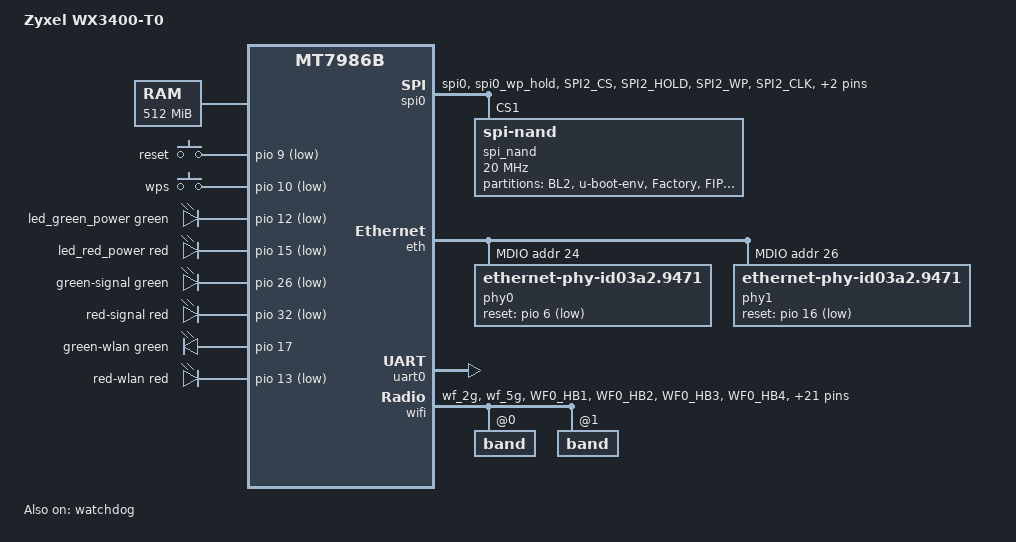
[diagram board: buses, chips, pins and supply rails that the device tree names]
// SPDX-License-Identifier: (GPL-2.0 OR MIT)

/dts-v1/;

#include <dt-bindings/gpio/gpio.h>
#include <dt-bindings/input/input.h>
#include <dt-bindings/leds/common.h>
#include <dt-bindings/pinctrl/mt65xx.h>

#include "mt7986b.dtsi"

/ {
	model = "Zyxel WX3400-T0";
	compatible = "zyxel,wx3400-t0", "mediatek,mt7986b";

	aliases {
		serial0 = &uart0;
		label-mac-device = &gmac0;
		led-boot = &led_green_power;
		led-failsafe = &led_red_power;
		led-running = &led_green_power;
		led-upgrade = &led_red_power;
	};

	chosen {
		stdout-path = "serial0:115200n8";
	};

	memory@40000000 {
		device_type = "memory";
		reg = <0 0x40000000 0 0x20000000>;
	};

	keys {
		compatible = "gpio-keys";
		poll-interval = <20>;

		reset-button {
			label = "reset";
			gpios = <&pio 9 GPIO_ACTIVE_LOW>;
			linux,code = <KEY_RESTART>;
		};

		wps-button {
			label = "wps";
			gpios = <&pio 10 GPIO_ACTIVE_LOW>;
			linux,code = <KEY_WPS_BUTTON>;
		};
	};

	leds {
		compatible = "gpio-leds";

		led_green_power: green-power {
			gpios = <&pio 12 GPIO_ACTIVE_LOW>;
			color = <LED_COLOR_ID_GREEN>;
			function = LED_FUNCTION_POWER;
		};

		led_red_power: red-power {
			gpios = <&pio 15 GPIO_ACTIVE_LOW>;
			color = <LED_COLOR_ID_RED>;
			function = LED_FUNCTION_POWER;
			panic-indicator;
		};

		green-signal {
			gpios = <&pio 26 GPIO_ACTIVE_LOW>;
			color = <LED_COLOR_ID_GREEN>;
			function = LED_FUNCTION_INDICATOR;
		};

		red-signal {
			gpios = <&pio 32 GPIO_ACTIVE_LOW>;
			color = <LED_COLOR_ID_RED>;
			function = LED_FUNCTION_INDICATOR;
		};

		green-wlan {
			gpios = <&pio 17 GPIO_ACTIVE_HIGH>;
			color = <LED_COLOR_ID_GREEN>;
			function = LED_FUNCTION_WLAN_2GHZ;
		};

		red-wlan {
			gpios = <&pio 13 GPIO_ACTIVE_LOW>;
			color = <LED_COLOR_ID_RED>;
			function = LED_FUNCTION_WLAN_5GHZ;
		};
	};
};

&spi0 {
	pinctrl-names = "default";
	pinctrl-0 = <&spi_flash_pins>;
	cs-gpios = <0>, <0>;
	status = "okay";

	spi_nand: spi-nand@1 {
		compatible = "spi-nand";
		reg = <1>;
		spi-max-frequency = <20000000>;
		spi-tx-bus-width = <4>;
		spi-rx-bus-width = <4>;
		mediatek,nmbm;
		mediatek,bmt-max-ratio = <1>;
		mediatek,bmt-max-reserved-blocks = <64>;

		partitions {
			compatible = "fixed-partitions";
			#address-cells = <1>;
			#size-cells = <1>;

			partition@0 {
				label = "BL2";
				reg = <0x0 0x100000>;
				read-only;
			};

			partition@100000 {
				label = "u-boot-env";
				reg = <0x100000 0x80000>;
			};

			factory: partition@180000 {
				label = "Factory";
				reg = <0x180000 0x200000>;
				read-only;

				nvmem-layout {
					compatible = "fixed-layout";
					#address-cells = <1>;
					#size-cells = <1>;

					eeprom_factory: eeprom@0 {
						reg = <0x0 0x1000>;
					};

					macaddr_factory_4: macaddr@4 {
						compatible = "mac-base";
						reg = <0x4 0x6>;
						#nvmem-cell-cells = <1>;
					};

					macaddr_factory_24: macaddr@24 {
						compatible = "mac-base";
						reg = <0x24 0x6>;
						#nvmem-cell-cells = <1>;
					};

					macaddr_factory_2a: macaddr@2a {
						compatible = "mac-base";
						reg = <0x2a 0x6>;
						#nvmem-cell-cells = <1>;
					};
				};
			};

			partition@380000 {
				label = "FIP";
				reg = <0x380000 0x1c0000>;
				read-only;
			};

			partition@540000 {
				label = "zloader";
				reg = <0x540000 0x40000>;
				read-only;
			};

			partition@580000 {
				compatible = "linux,ubi";
				label = "ubi";
				reg = <0x580000 0x4000000>;
			};

			partition@4580000 {
				label = "ubi2";
				reg = <0x4580000 0x4000000>;
			};

			partition@8580000 {
				label = "zyubi";
				reg = <0x8580000 0x6a80000>;
			};
		};
	};
};

&eth {
	status = "okay";

	gmac0: mac@0 {
		compatible = "mediatek,eth-mac";
		reg = <0>;
		label = "lan";
		nvmem-cells = <&macaddr_factory_24 0>;
		nvmem-cell-names = "mac-address";
		phy-mode = "sgmii";
		phy-handle = <&phy0>;
		managed = "in-band-status";
		pause;
	};

	gmac1: mac@1 {
		compatible = "mediatek,eth-mac";
		reg = <1>;
		label = "wan";
		nvmem-cells = <&macaddr_factory_2a 0>;
		nvmem-cell-names = "mac-address";
		phy-mode = "sgmii";
		phy-handle = <&phy1>;
		managed = "in-band-status";
		pause;
	};

	mdio: mdio-bus {
		#address-cells = <1>;
		#size-cells = <0>;

		phy0: ethernet-phy@18 {
			compatible = "ethernet-phy-id03a2.9471";
			reg = <0x18>;
			phy-mode = "sgmii";
			reset-gpios = <&pio 6 GPIO_ACTIVE_LOW>;
			reset-assert-us = <10000>;
		};

		phy1: ethernet-phy@1a {
			compatible = "ethernet-phy-id03a2.9471";
			reg = <0x1a>;
			phy-mode = "sgmii";
			reset-gpios = <&pio 16 GPIO_ACTIVE_LOW>;
			reset-assert-us = <10000>;
		};
	};
};

&uart0 {
	status = "okay";
};

&watchdog {
	status = "okay";
};

&wifi {
	#address-cells = <1>;
	#size-cells = <0>;

	status = "okay";
	pinctrl-names = "default", "dbdc";
	pinctrl-0 = <&wf_2g_5g_pins>;
	pinctrl-1 = <&wf_dbdc_pins>;
	nvmem-cells = <&eeprom_factory>;
	nvmem-cell-names = "eeprom";

	band@0 {
		reg = <0>;
		nvmem-cells = <&macaddr_factory_4 0>;
		nvmem-cell-names = "mac-address";
	};

	band@1 {
		reg = <1>;
		nvmem-cells = <&macaddr_factory_4 1>;
		nvmem-cell-names = "mac-address";
	};
};

&pio {
	spi_flash_pins: spi-flash-pins-33-to-38 {
		mux {
			function = "spi";
			groups = "spi0", "spi0_wp_hold";
		};

		conf-pu {
			pins = "SPI2_CS", "SPI2_HOLD", "SPI2_WP";
			drive-strength = <MTK_DRIVE_8mA>;
			mediatek,pull-up-adv = <0>;
		};

		conf-pd {
			pins = "SPI2_CLK", "SPI2_MOSI", "SPI2_MISO";
			drive-strength = <MTK_DRIVE_8mA>;
			mediatek,pull-down-adv = <0>;
		};
	};

	wf_2g_5g_pins: wf-2g-5g-pins {
		mux {
			function = "wifi";
			groups = "wf_2g", "wf_5g";
		};

		conf {
			pins = "WF0_HB1", "WF0_HB2", "WF0_HB3", "WF0_HB4",
				"WF0_HB0", "WF0_HB0_B", "WF0_HB5", "WF0_HB6",
				"WF0_HB7", "WF0_HB8", "WF0_HB9", "WF0_HB10",
				"WF0_TOP_CLK", "WF0_TOP_DATA", "WF1_HB1",
				"WF1_HB2", "WF1_HB3", "WF1_HB4", "WF1_HB0",
				"WF1_HB5", "WF1_HB6", "WF1_HB7", "WF1_HB8",
				"WF1_TOP_CLK", "WF1_TOP_DATA";
			drive-strength = <MTK_DRIVE_4mA>;
		};
	};

	wf_dbdc_pins: wf-dbdc-pins {
		mux {
			function = "wifi";
			groups = "wf_dbdc";
		};

		conf {
			pins = "WF0_HB1", "WF0_HB2", "WF0_HB3", "WF0_HB4",
				"WF0_HB0", "WF0_HB0_B", "WF0_HB5", "WF0_HB6",
				"WF0_HB7", "WF0_HB8", "WF0_HB9", "WF0_HB10",
				"WF0_TOP_CLK", "WF0_TOP_DATA", "WF1_HB1",
				"WF1_HB2", "WF1_HB3", "WF1_HB4", "WF1_HB0",
				"WF1_HB5", "WF1_HB6", "WF1_HB7", "WF1_HB8",
				"WF1_TOP_CLK", "WF1_TOP_DATA";
			drive-strength = <MTK_DRIVE_4mA>;
		};
	};
};
